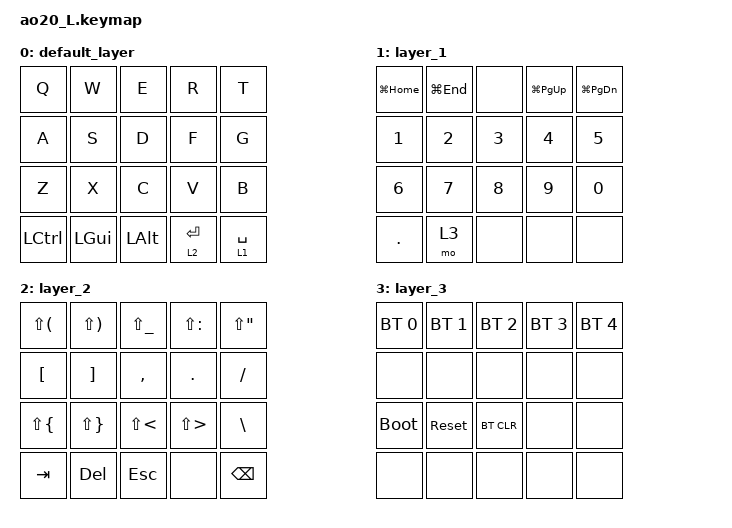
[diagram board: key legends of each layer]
#include <behaviors.dtsi>
#include <dt-bindings/zmk/bt.h>
#include <dt-bindings/zmk/keys.h>

/ {
    combos {
        compatible = "zmk,combos";

        LShift {
            bindings = <&kp LEFT_SHIFT>;
            key-positions = <18 19>;
            layers = <0>;
        };

        LEsc {
            bindings = <&kp ESC>;
            key-positions = <19 14>;
            layers = <0>;
        };
    };

    keymap {
        compatible = "zmk,keymap";

        default_layer {
            bindings = <
&kp Q      &kp W     &kp E     &kp R        &kp T
&kp A      &kp S     &kp D     &kp F        &kp G
&kp Z      &kp X     &kp C     &kp V        &kp B
&kp LCTRL  &kp LGUI  &kp LALT  &lt 2 ENTER  &lt 1 SPACE
            >;
        };

        layer_1 {
            bindings = <
&kp LG(HOME)  &kp LG(END)  &none   &kp LG(PG_UP)  &kp LG(PG_DN)
&kp N1        &kp N2       &kp N3  &kp N4         &kp N5
&kp N6        &kp N7       &kp N8  &kp N9         &kp N0
&kp DOT       &mo 3        &none   &none          &none
            >;
        };

        layer_2 {
            bindings = <
&kp LS(LPAR)  &kp LS(RPAR)  &kp LS(UNDER)  &kp LS(COLON)  &kp LS(DQT)
&kp LBKT      &kp RBKT      &kp COMMA      &kp DOT        &kp FSLH
&kp LS(LBRC)  &kp LS(RBRC)  &kp LS(LT)     &kp LS(GT)     &kp BSLH
&kp TAB       &kp DEL       &kp ESC        &none          &kp BSPC
            >;
        };

        layer_3 {
            bindings = <
&bt BT_SEL 0  &bt BT_SEL 1  &bt BT_SEL 2  &bt BT_SEL 3  &bt BT_SEL 4
&none        &none        &none        &none        &none
&bootloader  &sys_reset   &bt BT_CLR   &none        &none
&none        &none        &none        &none        &none
            >;
        };
    };
};
